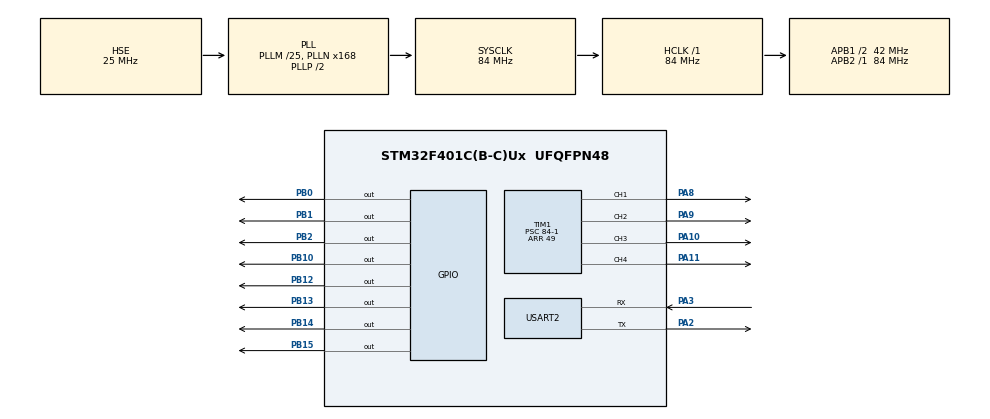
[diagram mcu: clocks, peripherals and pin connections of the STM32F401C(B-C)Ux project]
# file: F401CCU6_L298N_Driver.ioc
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Mcu.Family=STM32F4
Mcu.Name=STM32F401C(B-C)Ux
Mcu.Package=UFQFPN48
NVIC.PriorityGroup=NVIC_PRIORITYGROUP_4
NVIC.USART2_IRQn=true\:0\:0\:false\:false\:true\:true\:true\:true
PA10.Signal=S_TIM1_CH3
PA11.Signal=S_TIM1_CH4
PA13.Mode=Serial_Wire
PA13.Signal=SYS_JTMS-SWDIO
PA14.Mode=Serial_Wire
PA14.Signal=SYS_JTCK-SWCLK
PA2.Mode=Asynchronous
PA2.Signal=USART2_TX
PA3.Mode=Asynchronous
PA3.Signal=USART2_RX
PA8.Signal=S_TIM1_CH1
PA9.Signal=S_TIM1_CH2
PB0.Signal=GPIO_Output
PB1.Signal=GPIO_Output
PB10.Signal=GPIO_Output
PB12.Signal=GPIO_Output
PB13.Signal=GPIO_Output
PB14.Signal=GPIO_Output
PB15.Signal=GPIO_Output
PB2.Signal=GPIO_Output
PC14-OSC32_IN.Mode=LSE-External-Oscillator
PC14-OSC32_IN.Signal=RCC_OSC32_IN
PC15-OSC32_OUT.Mode=LSE-External-Oscillator
PC15-OSC32_OUT.Signal=RCC_OSC32_OUT
PH0\ -\ OSC_IN.Mode=HSE-External-Oscillator
PH0\ -\ OSC_IN.Signal=RCC_OSC_IN
PH1\ -\ OSC_OUT.Mode=HSE-External-Oscillator
PH1\ -\ OSC_OUT.Signal=RCC_OSC_OUT
ProjectManager.HeapSize=0x200
ProjectManager.StackSize=0x400
ProjectManager.TargetToolchain=STM32CubeIDE
RCC.48MHZClocksFreq_Value=42000000
RCC.AHBFreq_Value=84000000
RCC.APB1CLKDivider=RCC_HCLK_DIV2
RCC.APB1Freq_Value=42000000
RCC.APB1TimFreq_Value=84000000
RCC.APB2Freq_Value=84000000
RCC.APB2TimFreq_Value=84000000
RCC.CortexFreq_Value=84000000
RCC.HCLKFreq_Value=84000000
RCC.HSE_VALUE=25000000
RCC.HSI_VALUE=16000000
RCC.PLLM=25
RCC.PLLN=168
RCC.PLLSourceVirtual=RCC_PLLSOURCE_HSE
RCC.SYSCLKFreq_VALUE=84000000
RCC.SYSCLKSource=RCC_SYSCLKSOURCE_PLLCLK
RCC.VCOOutputFreq_Value=168000000
SH.S_TIM1_CH1.0=TIM1_CH1,PWM Generation1 CH1
SH.S_TIM1_CH2.0=TIM1_CH2,PWM Generation2 CH2
SH.S_TIM1_CH3.0=TIM1_CH3,PWM Generation3 CH3
SH.S_TIM1_CH4.0=TIM1_CH4,PWM Generation4 CH4
TIM1.Channel-PWM\ Generation1\ CH1=TIM_CHANNEL_1
TIM1.Channel-PWM\ Generation2\ CH2=TIM_CHANNEL_2
TIM1.Channel-PWM\ Generation3\ CH3=TIM_CHANNEL_3
TIM1.Channel-PWM\ Generation4\ CH4=TIM_CHANNEL_4
TIM1.Period=49
TIM1.Prescaler=84-1
USART2.VirtualMode=VM_ASYNC
VP_TIM1_VS_ClockSourceINT.Mode=Internal
board=custom

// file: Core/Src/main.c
/* USER CODE BEGIN Header */
/**
 ******************************************************************************
 * @file           : main.c
 * @brief          : Main program body
 ******************************************************************************
 * @attention
 *
 * Copyright (c) 2025 STMicroelectronics.
 * All rights reserved.
 *
 * This software is licensed under terms that can be found in the LICENSE file
 * in the root directory of this software component.
 * If no LICENSE file comes with this software, it is provided AS-IS.
 *
 ******************************************************************************
 */
/* USER CODE END Header */
#include "main.h"

TIM_HandleTypeDef htim1;

UART_HandleTypeDef huart2;

/* USER CODE BEGIN PV */
#define RF_IN1_Pin GPIO_PIN_12
#define RF_IN1_Pin GPIO_PIN_12
#define RF_IN1_Port GPIOB
#define RF_IN2_Pin GPIO_PIN_13
#define RF_IN2_Port GPIOB

#define RR_IN1_Pin GPIO_PIN_14
#define RR_IN1_Port GPIOB
#define RR_IN2_Pin GPIO_PIN_15
#define RR_IN2_Port GPIOB

#define LF_IN1_Pin GPIO_PIN_0
#define LF_IN1_Port GPIOB
#define LF_IN2_Pin GPIO_PIN_1
#define LF_IN2_Port GPIOB

#define LR_IN1_Pin GPIO_PIN_2
#define LR_IN1_Port GPIOB
#define LR_IN2_Pin GPIO_PIN_10
#define LR_IN2_Port GPIOB

#define PWM_MAX 10000   // ARR = 49 (20kHz base)
#define PWM_SPEED (PWM_MAX/2)
/* USER CODE END PV */

void SystemClock_Config(void);
static void MX_GPIO_Init(void);
static void MX_TIM1_Init(void);
static void MX_USART2_UART_Init(void);
void Motor_Stop(void);
void Move_Forward(void);
void Move_Backward(void);
void Move_Left(void);
void Move_Right(void);
void Rotate_CW(void);
void Rotate_CCW(void);
/* USER CODE BEGIN PFP */
uint8_t rxData;
/* USER CODE END PFP */

int main(void)
{

  /* MCU Configuration--------------------------------------------------------*/

  /* Reset of all peripherals, Initializes the Flash interface and the Systick. */
  HAL_Init();

  /* Configure the system clock */
  SystemClock_Config();

  /* Initialize all configured peripherals */
  MX_GPIO_Init();
  MX_TIM1_Init();
  MX_USART2_UART_Init();
  /* USER CODE BEGIN 2 */
	HAL_TIM_PWM_Start(&htim1, TIM_CHANNEL_1); // PA8 RF_EN
	HAL_TIM_PWM_Start(&htim1, TIM_CHANNEL_2); // PA9 RR_EN
	HAL_TIM_PWM_Start(&htim1, TIM_CHANNEL_3); // PA10 LF_EN
	HAL_TIM_PWM_Start(&htim1, TIM_CHANNEL_4); // PA11 LR_EN

	 Motor_Stop();
  /* USER CODE END 2 */

  /* Infinite loop */
	while (1) {
		if (HAL_UART_Receive(&huart2, &rxData, 1, 10) == HAL_OK) {
					switch (rxData) {
					case 'F':
					case 'f':
						Move_Forward();
						break;
					case 'B':
					case 'b':
						Move_Backward();
						break;
					case 'L':
					case 'l':
						Move_Left();
						break;
					case 'R':
					case 'r':
						Move_Right();
						break;
					case 'C':
					case 'c':
						Rotate_CW();
						break;
					case 'A':
					case 'a':
						Rotate_CCW();
						break;
					case 'S':
					case 's':
						Motor_Stop();
						break;
					default:
						break;
					}
				}
	}
}

void Motor_Stop(void) {
	__HAL_TIM_SET_COMPARE(&htim1, TIM_CHANNEL_1, 0);
	__HAL_TIM_SET_COMPARE(&htim1, TIM_CHANNEL_2, 0);
	__HAL_TIM_SET_COMPARE(&htim1, TIM_CHANNEL_3, 0);
	__HAL_TIM_SET_COMPARE(&htim1, TIM_CHANNEL_4, 0);

	HAL_GPIO_WritePin(GPIOB, RF_IN1_Pin | RF_IN2_Pin | RR_IN1_Pin | RR_IN2_Pin |
	LF_IN1_Pin | LF_IN2_Pin | LR_IN1_Pin | LR_IN2_Pin, GPIO_PIN_RESET);
}

void Move_Forward(void) {
	// Right side forward
	HAL_GPIO_WritePin(RF_IN1_Port, RF_IN1_Pin, GPIO_PIN_SET);
	HAL_GPIO_WritePin(RF_IN2_Port, RF_IN2_Pin, GPIO_PIN_SET);
	HAL_GPIO_WritePin(RR_IN1_Port, RR_IN1_Pin, GPIO_PIN_SET);
	HAL_GPIO_WritePin(RR_IN2_Port, RR_IN2_Pin, GPIO_PIN_SET);

	// Left side forward
	HAL_GPIO_WritePin(LF_IN1_Port, LF_IN1_Pin, GPIO_PIN_SET);
	HAL_GPIO_WritePin(LF_IN2_Port, LF_IN2_Pin, GPIO_PIN_SET);
	HAL_GPIO_WritePin(LR_IN1_Port, LR_IN1_Pin, GPIO_PIN_SET);
	HAL_GPIO_WritePin(LR_IN2_Port, LR_IN2_Pin, GPIO_PIN_SET);

	__HAL_TIM_SET_COMPARE(&htim1, TIM_CHANNEL_1, PWM_SPEED);
	__HAL_TIM_SET_COMPARE(&htim1, TIM_CHANNEL_2, PWM_SPEED);
	__HAL_TIM_SET_COMPARE(&htim1, TIM_CHANNEL_3, PWM_SPEED);
	__HAL_TIM_SET_COMPARE(&htim1, TIM_CHANNEL_4, PWM_SPEED);
}

void Move_Backward(void) {
	HAL_GPIO_WritePin(RF_IN1_Port, RF_IN1_Pin, GPIO_PIN_RESET);
	HAL_GPIO_WritePin(RF_IN2_Port, RF_IN2_Pin, GPIO_PIN_SET);
	HAL_GPIO_WritePin(RR_IN1_Port, RR_IN1_Pin, GPIO_PIN_RESET);
	HAL_GPIO_WritePin(RR_IN2_Port, RR_IN2_Pin, GPIO_PIN_SET);

	HAL_GPIO_WritePin(LF_IN1_Port, LF_IN1_Pin, GPIO_PIN_RESET);
	HAL_GPIO_WritePin(LF_IN2_Port, LF_IN2_Pin, GPIO_PIN_SET);
	HAL_GPIO_WritePin(LR_IN1_Port, LR_IN1_Pin, GPIO_PIN_RESET);
	HAL_GPIO_WritePin(LR_IN2_Port, LR_IN2_Pin, GPIO_PIN_SET);

	__HAL_TIM_SET_COMPARE(&htim1, TIM_CHANNEL_1, PWM_SPEED);
	__HAL_TIM_SET_COMPARE(&htim1, TIM_CHANNEL_2, PWM_SPEED);
	__HAL_TIM_SET_COMPARE(&htim1, TIM_CHANNEL_3, PWM_SPEED);
	__HAL_TIM_SET_COMPARE(&htim1, TIM_CHANNEL_4, PWM_SPEED);
}

void Move_Left(void) {
	HAL_GPIO_WritePin(RF_IN1_Port, RF_IN1_Pin, GPIO_PIN_SET);
	HAL_GPIO_WritePin(RF_IN2_Port, RF_IN2_Pin, GPIO_PIN_RESET);

	HAL_GPIO_WritePin(RR_IN1_Port, RR_IN1_Pin, GPIO_PIN_RESET);
	HAL_GPIO_WritePin(RR_IN2_Port, RR_IN2_Pin, GPIO_PIN_SET);

	HAL_GPIO_WritePin(LF_IN1_Port, LF_IN1_Pin, GPIO_PIN_RESET);
	HAL_GPIO_WritePin(LF_IN2_Port, LF_IN2_Pin, GPIO_PIN_SET);

	HAL_GPIO_WritePin(LR_IN1_Port, LR_IN1_Pin, GPIO_PIN_SET);
	HAL_GPIO_WritePin(LR_IN2_Port, LR_IN2_Pin, GPIO_PIN_RESET);

	__HAL_TIM_SET_COMPARE(&htim1, TIM_CHANNEL_1, PWM_SPEED);
	__HAL_TIM_SET_COMPARE(&htim1, TIM_CHANNEL_2, PWM_SPEED);
	__HAL_TIM_SET_COMPARE(&htim1, TIM_CHANNEL_3, PWM_SPEED);
	__HAL_TIM_SET_COMPARE(&htim1, TIM_CHANNEL_4, PWM_SPEED);
}

void Move_Right(void) {
	HAL_GPIO_WritePin(RF_IN1_Port, RF_IN1_Pin, GPIO_PIN_RESET);
	HAL_GPIO_WritePin(RF_IN2_Port, RF_IN2_Pin, GPIO_PIN_SET);

	HAL_GPIO_WritePin(RR_IN1_Port, RR_IN1_Pin, GPIO_PIN_SET);
	HAL_GPIO_WritePin(RR_IN2_Port, RR_IN2_Pin, GPIO_PIN_RESET);

	HAL_GPIO_WritePin(LF_IN1_Port, LF_IN1_Pin, GPIO_PIN_SET);
	HAL_GPIO_WritePin(LF_IN2_Port, LF_IN2_Pin, GPIO_PIN_RESET);

	HAL_GPIO_WritePin(LR_IN1_Port, LR_IN1_Pin, GPIO_PIN_RESET);
	HAL_GPIO_WritePin(LR_IN2_Port, LR_IN2_Pin, GPIO_PIN_SET);

	__HAL_TIM_SET_COMPARE(&htim1, TIM_CHANNEL_1, PWM_SPEED);
	__HAL_TIM_SET_COMPARE(&htim1, TIM_CHANNEL_2, PWM_SPEED);
	__HAL_TIM_SET_COMPARE(&htim1, TIM_CHANNEL_3, PWM_SPEED);
	__HAL_TIM_SET_COMPARE(&htim1, TIM_CHANNEL_4, PWM_SPEED);
}

void Rotate_CW(void) {
	HAL_GPIO_WritePin(RF_IN1_Port, RF_IN1_Pin, GPIO_PIN_RESET);
	HAL_GPIO_WritePin(RF_IN2_Port, RF_IN2_Pin, GPIO_PIN_SET);

	HAL_GPIO_WritePin(RR_IN1_Port, RR_IN1_Pin, GPIO_PIN_RESET);
	HAL_GPIO_WritePin(RR_IN2_Port, RR_IN2_Pin, GPIO_PIN_SET);

	HAL_GPIO_WritePin(LF_IN1_Port, LF_IN1_Pin, GPIO_PIN_SET);
	HAL_GPIO_WritePin(LF_IN2_Port, LF_IN2_Pin, GPIO_PIN_RESET);

	HAL_GPIO_WritePin(LR_IN1_Port, LR_IN1_Pin, GPIO_PIN_SET);
	HAL_GPIO_WritePin(LR_IN2_Port, LR_IN2_Pin, GPIO_PIN_RESET);

	__HAL_TIM_SET_COMPARE(&htim1, TIM_CHANNEL_1, PWM_SPEED);
	__HAL_TIM_SET_COMPARE(&htim1, TIM_CHANNEL_2, PWM_SPEED);
	__HAL_TIM_SET_COMPARE(&htim1, TIM_CHANNEL_3, PWM_SPEED);
	__HAL_TIM_SET_COMPARE(&htim1, TIM_CHANNEL_4, PWM_SPEED);
}

void Rotate_CCW(void) {
	HAL_GPIO_WritePin(RF_IN1_Port, RF_IN1_Pin, GPIO_PIN_SET);
	HAL_GPIO_WritePin(RF_IN2_Port, RF_IN2_Pin, GPIO_PIN_RESET);

	HAL_GPIO_WritePin(RR_IN1_Port, RR_IN1_Pin, GPIO_PIN_SET);
	HAL_GPIO_WritePin(RR_IN2_Port, RR_IN2_Pin, GPIO_PIN_RESET);

	HAL_GPIO_WritePin(LF_IN1_Port, LF_IN1_Pin, GPIO_PIN_RESET);
	HAL_GPIO_WritePin(LF_IN2_Port, LF_IN2_Pin, GPIO_PIN_SET);

	HAL_GPIO_WritePin(LR_IN1_Port, LR_IN1_Pin, GPIO_PIN_RESET);
	HAL_GPIO_WritePin(LR_IN2_Port, LR_IN2_Pin, GPIO_PIN_SET);

	__HAL_TIM_SET_COMPARE(&htim1, TIM_CHANNEL_1, PWM_SPEED);
	__HAL_TIM_SET_COMPARE(&htim1, TIM_CHANNEL_2, PWM_SPEED);
	__HAL_TIM_SET_COMPARE(&htim1, TIM_CHANNEL_3, PWM_SPEED);
	__HAL_TIM_SET_COMPARE(&htim1, TIM_CHANNEL_4, PWM_SPEED);
}

void SystemClock_Config(void)
{
  RCC_OscInitTypeDef RCC_OscInitStruct = {0};
  RCC_ClkInitTypeDef RCC_ClkInitStruct = {0};

  /** Configure the main internal regulator output voltage
  */
  __HAL_RCC_PWR_CLK_ENABLE();
  __HAL_PWR_VOLTAGESCALING_CONFIG(PWR_REGULATOR_VOLTAGE_SCALE2);

  /** Initializes the RCC Oscillators according to the specified parameters
  * in the RCC_OscInitTypeDef structure.
  */
  RCC_OscInitStruct.OscillatorType = RCC_OSCILLATORTYPE_HSE;
  RCC_OscInitStruct.HSEState = RCC_HSE_ON;
  RCC_OscInitStruct.PLL.PLLState = RCC_PLL_ON;
  RCC_OscInitStruct.PLL.PLLSource = RCC_PLLSOURCE_HSE;
  RCC_OscInitStruct.PLL.PLLM = 25;
  RCC_OscInitStruct.PLL.PLLN = 168;
  RCC_OscInitStruct.PLL.PLLP = RCC_PLLP_DIV2;
  RCC_OscInitStruct.PLL.PLLQ = 4;
  if (HAL_RCC_OscConfig(&RCC_OscInitStruct) != HAL_OK)
  {
    Error_Handler();
  }

  /** Initializes the CPU, AHB and APB buses clocks
  */
  RCC_ClkInitStruct.ClockType = RCC_CLOCKTYPE_HCLK|RCC_CLOCKTYPE_SYSCLK
                              |RCC_CLOCKTYPE_PCLK1|RCC_CLOCKTYPE_PCLK2;
  RCC_ClkInitStruct.SYSCLKSource = RCC_SYSCLKSOURCE_PLLCLK;
  RCC_ClkInitStruct.AHBCLKDivider = RCC_SYSCLK_DIV1;
  RCC_ClkInitStruct.APB1CLKDivider = RCC_HCLK_DIV2;
  RCC_ClkInitStruct.APB2CLKDivider = RCC_HCLK_DIV1;

  if (HAL_RCC_ClockConfig(&RCC_ClkInitStruct, FLASH_LATENCY_2) != HAL_OK)
  {
    Error_Handler();
  }
}

static void MX_TIM1_Init(void)
{

  TIM_ClockConfigTypeDef sClockSourceConfig = {0};
  TIM_MasterConfigTypeDef sMasterConfig = {0};
  TIM_OC_InitTypeDef sConfigOC = {0};
  TIM_BreakDeadTimeConfigTypeDef sBreakDeadTimeConfig = {0};

  htim1.Instance = TIM1;
  htim1.Init.Prescaler = 84-1;
  htim1.Init.CounterMode = TIM_COUNTERMODE_UP;
  htim1.Init.Period = 49;
  htim1.Init.ClockDivision = TIM_CLOCKDIVISION_DIV1;
  htim1.Init.RepetitionCounter = 0;
  htim1.Init.AutoReloadPreload = TIM_AUTORELOAD_PRELOAD_DISABLE;
  if (HAL_TIM_Base_Init(&htim1) != HAL_OK)
  {
    Error_Handler();
  }
  sClockSourceConfig.ClockSource = TIM_CLOCKSOURCE_INTERNAL;
  if (HAL_TIM_ConfigClockSource(&htim1, &sClockSourceConfig) != HAL_OK)
  {
    Error_Handler();
  }
  if (HAL_TIM_PWM_Init(&htim1) != HAL_OK)
  {
    Error_Handler();
  }
  sMasterConfig.MasterOutputTrigger = TIM_TRGO_RESET;
  sMasterConfig.MasterSlaveMode = TIM_MASTERSLAVEMODE_DISABLE;
  if (HAL_TIMEx_MasterConfigSynchronization(&htim1, &sMasterConfig) != HAL_OK)
  {
    Error_Handler();
  }
  sConfigOC.OCMode = TIM_OCMODE_PWM1;
  sConfigOC.Pulse = 0;
  sConfigOC.OCPolarity = TIM_OCPOLARITY_HIGH;
  sConfigOC.OCNPolarity = TIM_OCNPOLARITY_HIGH;
  sConfigOC.OCFastMode = TIM_OCFAST_DISABLE;
  sConfigOC.OCIdleState = TIM_OCIDLESTATE_RESET;
  sConfigOC.OCNIdleState = TIM_OCNIDLESTATE_RESET;
  if (HAL_TIM_PWM_ConfigChannel(&htim1, &sConfigOC, TIM_CHANNEL_1) != HAL_OK)
  {
    Error_Handler();
  }
  if (HAL_TIM_PWM_ConfigChannel(&htim1, &sConfigOC, TIM_CHANNEL_2) != HAL_OK)
  {
    Error_Handler();
  }
  if (HAL_TIM_PWM_ConfigChannel(&htim1, &sConfigOC, TIM_CHANNEL_3) != HAL_OK)
  {
    Error_Handler();
  }
  if (HAL_TIM_PWM_ConfigChannel(&htim1, &sConfigOC, TIM_CHANNEL_4) != HAL_OK)
  {
    Error_Handler();
  }
  sBreakDeadTimeConfig.OffStateRunMode = TIM_OSSR_DISABLE;
  sBreakDeadTimeConfig.OffStateIDLEMode = TIM_OSSI_DISABLE;
  sBreakDeadTimeConfig.LockLevel = TIM_LOCKLEVEL_OFF;
  sBreakDeadTimeConfig.DeadTime = 0;
  sBreakDeadTimeConfig.BreakState = TIM_BREAK_DISABLE;
  sBreakDeadTimeConfig.BreakPolarity = TIM_BREAKPOLARITY_HIGH;
  sBreakDeadTimeConfig.AutomaticOutput = TIM_AUTOMATICOUTPUT_DISABLE;
  if (HAL_TIMEx_ConfigBreakDeadTime(&htim1, &sBreakDeadTimeConfig) != HAL_OK)
  {
    Error_Handler();
  }
  HAL_TIM_MspPostInit(&htim1);

}

static void MX_USART2_UART_Init(void)
{

  huart2.Instance = USART2;
  huart2.Init.BaudRate = 115200;
  huart2.Init.WordLength = UART_WORDLENGTH_8B;
  huart2.Init.StopBits = UART_STOPBITS_1;
  huart2.Init.Parity = UART_PARITY_NONE;
  huart2.Init.Mode = UART_MODE_TX_RX;
  huart2.Init.HwFlowCtl = UART_HWCONTROL_NONE;
  huart2.Init.OverSampling = UART_OVERSAMPLING_16;
  if (HAL_UART_Init(&huart2) != HAL_OK)
  {
    Error_Handler();
  }

}

static void MX_GPIO_Init(void)
{
  GPIO_InitTypeDef GPIO_InitStruct = {0};

  /* GPIO Ports Clock Enable */
  __HAL_RCC_GPIOC_CLK_ENABLE();
  __HAL_RCC_GPIOH_CLK_ENABLE();
  __HAL_RCC_GPIOA_CLK_ENABLE();
  __HAL_RCC_GPIOB_CLK_ENABLE();

  /*Configure GPIO pin Output Level */
  HAL_GPIO_WritePin(GPIOB, GPIO_PIN_0|GPIO_PIN_1|GPIO_PIN_2|GPIO_PIN_10
                          |GPIO_PIN_12|GPIO_PIN_13|GPIO_PIN_14|GPIO_PIN_15, GPIO_PIN_RESET);

  /*Configure GPIO pins : PB0 PB1 PB2 PB10
                           PB12 PB13 PB14 PB15 */
  GPIO_InitStruct.Pin = GPIO_PIN_0|GPIO_PIN_1|GPIO_PIN_2|GPIO_PIN_10
                          |GPIO_PIN_12|GPIO_PIN_13|GPIO_PIN_14|GPIO_PIN_15;
  GPIO_InitStruct.Mode = GPIO_MODE_OUTPUT_PP;
  GPIO_InitStruct.Pull = GPIO_NOPULL;
  GPIO_InitStruct.Speed = GPIO_SPEED_FREQ_LOW;
  HAL_GPIO_Init(GPIOB, &GPIO_InitStruct);

}

void Error_Handler(void)
{
	__disable_irq();
	while (1) {
	}
}
